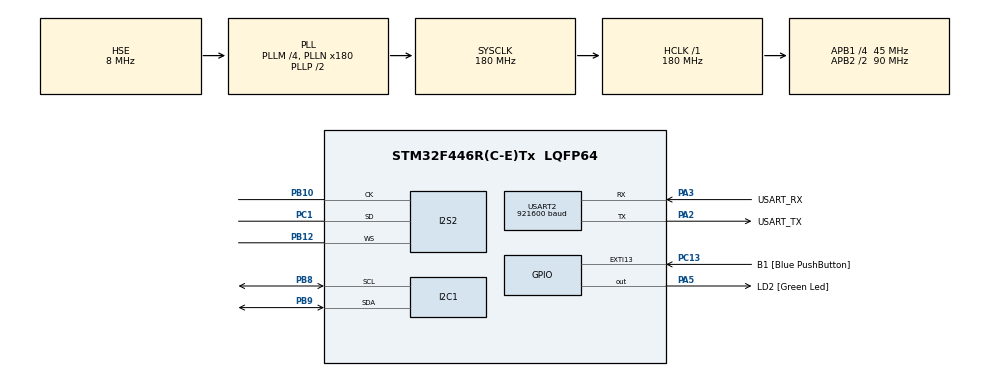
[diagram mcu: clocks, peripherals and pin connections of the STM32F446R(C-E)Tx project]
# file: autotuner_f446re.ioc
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Dma.I2C1_TX.1.Direction=DMA_MEMORY_TO_PERIPH
Dma.I2C1_TX.1.FIFOMode=DMA_FIFOMODE_DISABLE
Dma.I2C1_TX.1.Instance=DMA1_Stream7
Dma.I2C1_TX.1.MemDataAlignment=DMA_MDATAALIGN_BYTE
Dma.I2C1_TX.1.MemInc=DMA_MINC_ENABLE
Dma.I2C1_TX.1.Mode=DMA_NORMAL
Dma.I2C1_TX.1.PeriphDataAlignment=DMA_PDATAALIGN_BYTE
Dma.I2C1_TX.1.PeriphInc=DMA_PINC_DISABLE
Dma.I2C1_TX.1.Priority=DMA_PRIORITY_LOW
Dma.Request0=USART2_TX
Dma.Request1=I2C1_TX
Dma.Request2=SPI2_RX
Dma.SPI2_RX.2.Direction=DMA_PERIPH_TO_MEMORY
Dma.SPI2_RX.2.FIFOMode=DMA_FIFOMODE_DISABLE
Dma.SPI2_RX.2.Instance=DMA1_Stream3
Dma.SPI2_RX.2.MemDataAlignment=DMA_MDATAALIGN_HALFWORD
Dma.SPI2_RX.2.MemInc=DMA_MINC_ENABLE
Dma.SPI2_RX.2.Mode=DMA_CIRCULAR
Dma.SPI2_RX.2.PeriphDataAlignment=DMA_PDATAALIGN_HALFWORD
Dma.SPI2_RX.2.PeriphInc=DMA_PINC_DISABLE
Dma.SPI2_RX.2.Priority=DMA_PRIORITY_HIGH
Dma.USART2_TX.0.Direction=DMA_MEMORY_TO_PERIPH
Dma.USART2_TX.0.FIFOMode=DMA_FIFOMODE_DISABLE
Dma.USART2_TX.0.Instance=DMA1_Stream6
Dma.USART2_TX.0.MemDataAlignment=DMA_MDATAALIGN_BYTE
Dma.USART2_TX.0.MemInc=DMA_MINC_ENABLE
Dma.USART2_TX.0.Mode=DMA_NORMAL
Dma.USART2_TX.0.PeriphDataAlignment=DMA_PDATAALIGN_BYTE
Dma.USART2_TX.0.PeriphInc=DMA_PINC_DISABLE
Dma.USART2_TX.0.Priority=DMA_PRIORITY_MEDIUM
I2C1.I2C_Mode=I2C_Fast
I2S2.AudioFreq=I2S_AUDIOFREQ_16K
I2S2.DataFormat=I2S_DATAFORMAT_24B
I2S2.ErrorAudioFreq=0.0 %
I2S2.FullDuplexMode=I2S_FULLDUPLEXMODE_DISABLE
I2S2.Instance=SPI$Index
I2S2.Mode=I2S_MODE_MASTER_RX
I2S2.RealAudioFreq=16.0 KHz
I2S2.VirtualMode=I2S_MODE_MASTER
Mcu.Family=STM32F4
Mcu.Name=STM32F446R(C-E)Tx
Mcu.Package=LQFP64
NVIC.DMA1_Stream3_IRQn=true\:1\:0\:true\:false\:true\:false\:true\:true
NVIC.DMA1_Stream6_IRQn=true\:5\:0\:true\:false\:true\:false\:true\:true
NVIC.DMA1_Stream7_IRQn=true\:10\:0\:true\:false\:true\:false\:true\:true
NVIC.I2C1_ER_IRQn=true\:10\:0\:true\:false\:true\:true\:true\:true
NVIC.I2C1_EV_IRQn=true\:10\:0\:true\:false\:true\:true\:true\:true
NVIC.PriorityGroup=NVIC_PRIORITYGROUP_4
NVIC.USART2_IRQn=true\:5\:0\:true\:false\:true\:true\:true\:true
PA13.GPIO_Label=TMS
PA13.Mode=Trace_Asynchronous_SW
PA13.Signal=SYS_JTMS-SWDIO
PA14.GPIO_Label=TCK
PA14.Mode=Trace_Asynchronous_SW
PA14.Signal=SYS_JTCK-SWCLK
PA2.GPIO_Label=USART_TX
PA2.Mode=Asynchronous
PA2.Signal=USART2_TX
PA3.GPIO_Label=USART_RX
PA3.Mode=Asynchronous
PA3.Signal=USART2_RX
PA5.GPIO_Label=LD2 [Green Led]
PA5.Signal=GPIO_Output
PB10.Mode=Half_Duplex_Master
PB10.Signal=I2S2_CK
PB12.Mode=Half_Duplex_Master
PB12.Signal=I2S2_WS
PB3.GPIO_Label=SWO
PB3.Mode=Trace_Asynchronous_SW
PB3.Signal=SYS_JTDO-SWO
PB8.Mode=I2C
PB8.Signal=I2C1_SCL
PB9.Mode=I2C
PB9.Signal=I2C1_SDA
PC1.Mode=Half_Duplex_Master
PC1.Signal=I2S2_SD
PC13.GPIO_Label=B1 [Blue PushButton]
PC13.GPIO_ModeDefaultEXTI=GPIO_MODE_IT_FALLING
PC13.Signal=GPXTI13
PC14-OSC32_IN.Signal=RCC_OSC32_IN
PC15-OSC32_OUT.Signal=RCC_OSC32_OUT
PH0-OSC_IN.Mode=HSE-External-Clock-Source
PH0-OSC_IN.Signal=RCC_OSC_IN
PH1-OSC_OUT.Mode=HSE-External-Clock-Source
PH1-OSC_OUT.Signal=RCC_OSC_OUT
ProjectManager.HeapSize=0x400
ProjectManager.StackSize=0x1000
ProjectManager.TargetToolchain=STM32CubeIDE
RCC.AHBFreq_Value=180000000
RCC.APB1CLKDivider=RCC_HCLK_DIV4
RCC.APB1Freq_Value=45000000
RCC.APB1TimFreq_Value=90000000
RCC.APB2CLKDivider=RCC_HCLK_DIV2
RCC.APB2Freq_Value=90000000
RCC.APB2TimFreq_Value=180000000
RCC.CortexFreq_Value=180000000
RCC.FLatency-AdvancedSettings=FLASH_LATENCY_5
RCC.HCLKFreq_Value=180000000
RCC.HSE_VALUE=8000000
RCC.HSI_VALUE=16000000
RCC.LSE_VALUE=32768
RCC.LockedElements=AHBOutput
RCC.PLLI2SM=4
RCC.PLLI2SN=128
RCC.PLLM=4
RCC.PLLN=180
RCC.PLLSourceVirtual=RCC_PLLSOURCE_HSE
RCC.SYSCLKFreq_VALUE=180000000
RCC.SYSCLKSource=RCC_SYSCLKSOURCE_PLLCLK
RCC.USBFreq_Value=180000000
RCC.VCOOutputFreq_Value=360000000
USART2.BaudRate=921600
USART2.VirtualMode=VM_ASYNC
board=NUCLEO-F446RE

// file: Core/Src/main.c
/* USER CODE BEGIN Header */
/**
  ******************************************************************************
  * @file           : main.c
  * @brief          : Main program body
  ******************************************************************************
  * @attention
  *
  * Copyright (c) 2026 STMicroelectronics.
  * All rights reserved.
  *
  * This software is licensed under terms that can be found in the LICENSE file
  * in the root directory of this software component.
  * If no LICENSE file comes with this software, it is provided AS-IS.
  *
  ******************************************************************************
  */
/* USER CODE END Header */
#include "main.h"

/* USER CODE BEGIN Includes */
#include <stdint.h>
#include "uart_packet.h"
#include "app_main.h"          /* auto-tuner: app_init() / app_process_hop() */
/* USER CODE END Includes */

I2C_HandleTypeDef hi2c1;
DMA_HandleTypeDef hdma_i2c1_tx;

I2S_HandleTypeDef hi2s2;
DMA_HandleTypeDef hdma_spi2_rx;

UART_HandleTypeDef huart2;
DMA_HandleTypeDef hdma_usart2_tx;

/* USER CODE BEGIN PV */
#define HOP        128                 // samples per hop (8 ms at 16 kHz)
#define I2S_HALF   (HOP * 4)           // half-words per hop: 128 frames x 2 slots (L,R) x 2 half-words
#define MIC_SHIFT  5                   // 24-bit -> 16-bit: >>8 is unity; >>5 adds +18 dB of fixed gain
#define MIC_GAIN_Q8  ((int32_t)(256 * 2.0f))  // extra gain: 2.0 = +6 dB, 2.8 = +9 dB, 4.0 = +12 dB
static uint16_t i2s_buf[2 * I2S_HALF]; // circular DMA buffer: two halves of one hop each
static int16_t  pcm[HOP];              // one hop converted to int16 for the UART packet

volatile const uint16_t *hop_ptr = NULL; // which half of i2s_buf is ready
volatile uint8_t  hop_ready    = 0;    // set by the I2S callback, cleared by the main loop
volatile uint32_t hop_overruns = 0;    // a new hop arrived before the previous one was processed

volatile uint32_t hop_count    = 0;    // increments every 8 ms
volatile uint32_t hops_per_sec = 0;    // should settle at 125
volatile int32_t  mic_min = 0, mic_max = 0;   // left-channel (mic) range of the latest hop, 24-bit signed
volatile int32_t  right_peak = 0;             // right slot should stay ~0 with L/R tied to GND
volatile uint32_t clipped = 0;         // samples that hit +-32767 after MIC_SHIFT (lower the gain if this grows fast)

/* USER CODE END PV */

void SystemClock_Config(void);
static void MX_GPIO_Init(void);
static void MX_DMA_Init(void);
static void MX_USART2_UART_Init(void);
static void MX_I2C1_Init(void);
static void MX_I2S2_Init(void);
/* USER CODE BEGIN PFP */
static inline int32_t slot_to_s24(const uint16_t *p);
static void scan_hop(const uint16_t *p);
static void hop_to_pcm(const uint16_t *p, int16_t *out);
/* USER CODE END PFP */

int main(void)
{

  /* MCU Configuration--------------------------------------------------------*/

  /* Reset of all peripherals, Initializes the Flash interface and the Systick. */
  HAL_Init();

  /* Configure the system clock */
  SystemClock_Config();

  /* Initialize all configured peripherals */
  MX_GPIO_Init();
  MX_DMA_Init();
  MX_USART2_UART_Init();
  MX_I2C1_Init();
  MX_I2S2_Init();
  /* USER CODE BEGIN 2 */
  app_init(&huart2, &hi2c1);    /* auto-tuner + UART packets (TX) + commands (RX) + OLED + DWT counter */

  // Size is counted in 32-bit slots for 24/32-bit formats: 2 hops x 128 frames x 2 slots = 512
  if (HAL_I2S_Receive_DMA(&hi2s2, i2s_buf, 2 * HOP * 2) != HAL_OK) {
    Error_Handler();
  }

  uint32_t t0 = HAL_GetTick();
  uint32_t last_count = 0;
  /* USER CODE END 2 */

  /* Infinite loop */
  while (1)
  {

    /* USER CODE BEGIN 3 */
    if (hop_ready) {                             // a new 8 ms hop is waiting
      const uint16_t *p = (const uint16_t *)hop_ptr;
      hop_ready = 0;

      scan_hop(p);                               // keeps mic_min / mic_max / right_peak updated
      hop_to_pcm(p, pcm);                        // 24-bit slots -> int16 with fixed gain
      app_process_hop(pcm);                      // auto-tune this hop and send it to the laptop
    }

    if (HAL_GetTick() - t0 >= 1000) {            // once per second
      t0 += 1000;
      hops_per_sec = hop_count - last_count;
      last_count   = hop_count;
      HAL_GPIO_TogglePin(LD2_GPIO_Port, LD2_Pin);   // slow heartbeat: main loop is alive
    }
  }
  /* USER CODE END 3 */
}

void SystemClock_Config(void)
{
  RCC_OscInitTypeDef RCC_OscInitStruct = {0};
  RCC_ClkInitTypeDef RCC_ClkInitStruct = {0};

  /** Configure the main internal regulator output voltage
  */
  __HAL_RCC_PWR_CLK_ENABLE();
  __HAL_PWR_VOLTAGESCALING_CONFIG(PWR_REGULATOR_VOLTAGE_SCALE1);

  /** Initializes the RCC Oscillators according to the specified parameters
  * in the RCC_OscInitTypeDef structure.
  */
  RCC_OscInitStruct.OscillatorType = RCC_OSCILLATORTYPE_HSE;
  RCC_OscInitStruct.HSEState = RCC_HSE_BYPASS;
  RCC_OscInitStruct.PLL.PLLState = RCC_PLL_ON;
  RCC_OscInitStruct.PLL.PLLSource = RCC_PLLSOURCE_HSE;
  RCC_OscInitStruct.PLL.PLLM = 4;
  RCC_OscInitStruct.PLL.PLLN = 180;
  RCC_OscInitStruct.PLL.PLLP = RCC_PLLP_DIV2;
  RCC_OscInitStruct.PLL.PLLQ = 2;
  RCC_OscInitStruct.PLL.PLLR = 2;
  if (HAL_RCC_OscConfig(&RCC_OscInitStruct) != HAL_OK)
  {
    Error_Handler();
  }

  /** Activate the Over-Drive mode
  */
  if (HAL_PWREx_EnableOverDrive() != HAL_OK)
  {
    Error_Handler();
  }

  /** Initializes the CPU, AHB and APB buses clocks
  */
  RCC_ClkInitStruct.ClockType = RCC_CLOCKTYPE_HCLK|RCC_CLOCKTYPE_SYSCLK
                              |RCC_CLOCKTYPE_PCLK1|RCC_CLOCKTYPE_PCLK2;
  RCC_ClkInitStruct.SYSCLKSource = RCC_SYSCLKSOURCE_PLLCLK;
  RCC_ClkInitStruct.AHBCLKDivider = RCC_SYSCLK_DIV1;
  RCC_ClkInitStruct.APB1CLKDivider = RCC_HCLK_DIV4;
  RCC_ClkInitStruct.APB2CLKDivider = RCC_HCLK_DIV2;

  if (HAL_RCC_ClockConfig(&RCC_ClkInitStruct, FLASH_LATENCY_5) != HAL_OK)
  {
    Error_Handler();
  }
}

static void MX_I2C1_Init(void)
{

  hi2c1.Instance = I2C1;
  hi2c1.Init.ClockSpeed = 400000;
  hi2c1.Init.DutyCycle = I2C_DUTYCYCLE_2;
  hi2c1.Init.OwnAddress1 = 0;
  hi2c1.Init.AddressingMode = I2C_ADDRESSINGMODE_7BIT;
  hi2c1.Init.DualAddressMode = I2C_DUALADDRESS_DISABLE;
  hi2c1.Init.OwnAddress2 = 0;
  hi2c1.Init.GeneralCallMode = I2C_GENERALCALL_DISABLE;
  hi2c1.Init.NoStretchMode = I2C_NOSTRETCH_DISABLE;
  if (HAL_I2C_Init(&hi2c1) != HAL_OK)
  {
    Error_Handler();
  }

}

static void MX_I2S2_Init(void)
{

  hi2s2.Instance = SPI2;
  hi2s2.Init.Mode = I2S_MODE_MASTER_RX;
  hi2s2.Init.Standard = I2S_STANDARD_PHILIPS;
  hi2s2.Init.DataFormat = I2S_DATAFORMAT_24B;
  hi2s2.Init.MCLKOutput = I2S_MCLKOUTPUT_DISABLE;
  hi2s2.Init.AudioFreq = I2S_AUDIOFREQ_16K;
  hi2s2.Init.CPOL = I2S_CPOL_LOW;
  hi2s2.Init.ClockSource = I2S_CLOCK_PLL;
  hi2s2.Init.FullDuplexMode = I2S_FULLDUPLEXMODE_DISABLE;
  if (HAL_I2S_Init(&hi2s2) != HAL_OK)
  {
    Error_Handler();
  }

}

static void MX_USART2_UART_Init(void)
{

  huart2.Instance = USART2;
  huart2.Init.BaudRate = 921600;
  huart2.Init.WordLength = UART_WORDLENGTH_8B;
  huart2.Init.StopBits = UART_STOPBITS_1;
  huart2.Init.Parity = UART_PARITY_NONE;
  huart2.Init.Mode = UART_MODE_TX_RX;
  huart2.Init.HwFlowCtl = UART_HWCONTROL_NONE;
  huart2.Init.OverSampling = UART_OVERSAMPLING_16;
  if (HAL_UART_Init(&huart2) != HAL_OK)
  {
    Error_Handler();
  }

}

static void MX_DMA_Init(void)
{

  /* DMA controller clock enable */
  __HAL_RCC_DMA1_CLK_ENABLE();

  /* DMA interrupt init */
  /* DMA1_Stream3_IRQn interrupt configuration */
  HAL_NVIC_SetPriority(DMA1_Stream3_IRQn, 1, 0);
  HAL_NVIC_EnableIRQ(DMA1_Stream3_IRQn);
  /* DMA1_Stream6_IRQn interrupt configuration */
  HAL_NVIC_SetPriority(DMA1_Stream6_IRQn, 5, 0);
  HAL_NVIC_EnableIRQ(DMA1_Stream6_IRQn);
  /* DMA1_Stream7_IRQn interrupt configuration */
  HAL_NVIC_SetPriority(DMA1_Stream7_IRQn, 10, 0);
  HAL_NVIC_EnableIRQ(DMA1_Stream7_IRQn);

}

static void MX_GPIO_Init(void)
{
  GPIO_InitTypeDef GPIO_InitStruct = {0};

  /* GPIO Ports Clock Enable */
  __HAL_RCC_GPIOC_CLK_ENABLE();
  __HAL_RCC_GPIOH_CLK_ENABLE();
  __HAL_RCC_GPIOA_CLK_ENABLE();
  __HAL_RCC_GPIOB_CLK_ENABLE();

  /*Configure GPIO pin Output Level */
  HAL_GPIO_WritePin(LD2_GPIO_Port, LD2_Pin, GPIO_PIN_RESET);

  /*Configure GPIO pin : B1_Pin */
  GPIO_InitStruct.Pin = B1_Pin;
  GPIO_InitStruct.Mode = GPIO_MODE_IT_FALLING;
  GPIO_InitStruct.Pull = GPIO_NOPULL;
  HAL_GPIO_Init(B1_GPIO_Port, &GPIO_InitStruct);

  /*Configure GPIO pin : LD2_Pin */
  GPIO_InitStruct.Pin = LD2_Pin;
  GPIO_InitStruct.Mode = GPIO_MODE_OUTPUT_PP;
  GPIO_InitStruct.Pull = GPIO_NOPULL;
  GPIO_InitStruct.Speed = GPIO_SPEED_FREQ_LOW;
  HAL_GPIO_Init(LD2_GPIO_Port, &GPIO_InitStruct);

}

/* USER CODE BEGIN 4 */
/* One I2S slot = two half-words, MSB half first. 24-bit data sits in the top 24 bits. */
static inline int32_t slot_to_s24(const uint16_t *p)
{
  return (int32_t)(((uint32_t)p[0] << 16) | p[1]) >> 8;   // arithmetic shift keeps the sign
}

static void scan_hop(const uint16_t *p)   // p points at one hop: 128 frames of [L hi, L lo, R hi, R lo]
{
  int32_t mn = INT32_MAX, mx = INT32_MIN, rpk = 0;
  for (int i = 0; i < HOP; i++) {
    int32_t l = slot_to_s24(&p[4 * i]);
    int32_t r = slot_to_s24(&p[4 * i + 2]);
    if (l < mn) mn = l;
    if (l > mx) mx = l;
    if (r < 0) r = -r;
    if (r > rpk) rpk = r;
  }
  mic_min = mn;
  mic_max = mx;
  right_peak = rpk;
}

static void hop_to_pcm(const uint16_t *p, int16_t *out)   // left slot -> int16, gain, saturating
{
  for (int i = 0; i < HOP; i++) {
    int32_t s = slot_to_s24(&p[4 * i]) >> MIC_SHIFT;      // |s| <= 2^18
    s = (s * MIC_GAIN_Q8) >> 8;                            // <= 2^18 * 2^10 = 2^28: fits in int32
    if (s >  32767) { s =  32767; clipped++; }
    if (s < -32768) { s = -32768; clipped++; }
    out[i] = (int16_t)s;
  }
}

/* The callbacks only hand the hop to the main loop; all work happens there. */
static void hop_arrived(const uint16_t *half)
{
  if (hop_ready) hop_overruns++;   // main loop missed the 8 ms deadline
  hop_ptr   = half;
  hop_ready = 1;
  hop_count++;
}

void HAL_I2S_RxHalfCpltCallback(I2S_HandleTypeDef *hi2s)   // first hop of the buffer ready
{
  if (hi2s->Instance == SPI2) hop_arrived(&i2s_buf[0]);
}

void HAL_I2S_RxCpltCallback(I2S_HandleTypeDef *hi2s)       // second hop ready
{
  if (hi2s->Instance == SPI2) hop_arrived(&i2s_buf[I2S_HALF]);
}
/* USER CODE END 4 */

void Error_Handler(void)
{
  __disable_irq();
  while (1)
  {
  }
}
